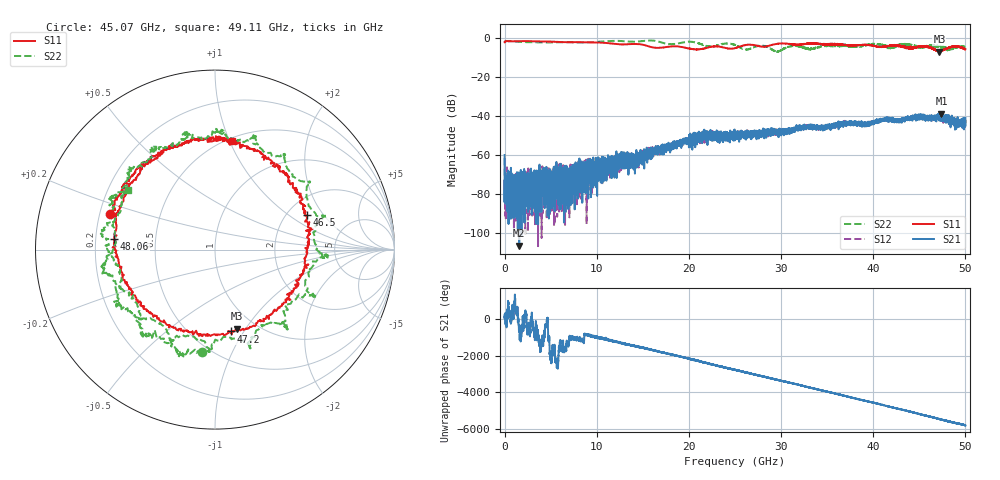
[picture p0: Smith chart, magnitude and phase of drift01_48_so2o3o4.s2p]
!Created with skrf (http://scikit-rf.org).
# Hz S RI R 50.0
!freq ReS11 ImS11 ReS21 ImS21 ReS12 ImS12 ReS22 ImS22
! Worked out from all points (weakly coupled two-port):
!   10001 points, 300 kHz to 50 GHz, reference 50 ohm
!   highest |S21| = -38.74 dB at 47.41 GHz (marker M1); lowest = -106.6 dB at 1.585 GHz (marker M2)
!   lowest |S11| = -6.8 dB at 47.18 GHz (marker M3), VSWR 2.69, Z = 40.9 - j45.6 ohm
!   |S11| at or under -10 dB: nowhere
!   |S22| runs from -6.9 to -1.1 dB; largest |S21 - S12| = 0.0038
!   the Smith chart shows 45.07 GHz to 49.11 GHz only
!   S11 on the Smith chart (normalised r, x): 45.07 GHz: 0.24, +0.16; 46.5 GHz: 2.55, +1.39; 47.2 GHz: 0.75, -0.87; 48.06 GHz: 0.28, +0.05; 49.11 GHz: 0.53, +1.02
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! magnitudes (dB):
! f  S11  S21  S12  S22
! 300 kHz  -2.0  -60.0  -61.7  -1.3
! 265.3 MHz  -1.4  -75.2  -66.3  -1.4
! 1.585 GHz  -1.4  -106.6  -84.8  -1.8
! 3.725 GHz  -1.5  -75.8  -72.8  -2.0
! 7.09 GHz  -2.0  -79.2  -72.3  -2.0
! 8.335 GHz  -2.0  -71.1  -71.1  -2.1
! 16.67 GHz  -4.9  -55.4  -58.6  -1.6
! 21.75 GHz  -5.1  -51.3  -50.9  -3.7
! 25 GHz  -5.0  -49.2  -49.4  -3.4
! 28.09 GHz  -4.3  -48.1  -47.9  -3.8
! 29.51 GHz  -2.8  -47.8  -48.5  -6.6
! 31.26 GHz  -3.1  -47.7  -46.3  -3.9
! 33.34 GHz  -2.6  -46.5  -45.9  -5.5
! 41.67 GHz  -3.9  -41.8  -41.6  -4.6
! 45.07 GHz  -4.2  -40.1  -40.0  -4.8
! 46.5 GHz  -5.2  -41.5  -41.1  -3.9
! 47.18 GHz  -6.8  -40.1  -40.1  -4.5
! 47.2 GHz  -6.7  -39.2  -40.2  -4.6
! 47.41 GHz  -6.4  -38.7  -40.3  -4.7
! 48.06 GHz  -5.0  -42.3  -40.8  -5.9
! 49.11 GHz  -4.3  -44.4  -42.0  -4.6
! 50 GHz  -5.6  -41.0  -44.7  -4.3
